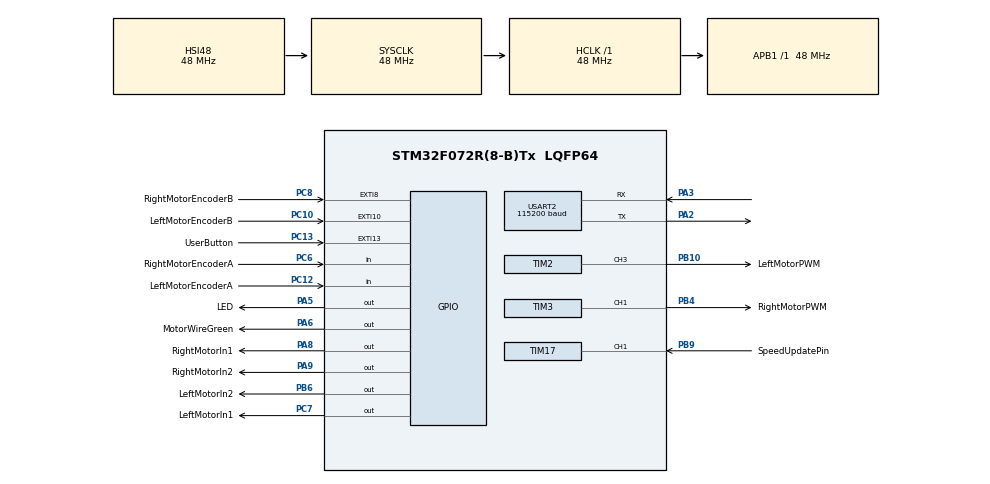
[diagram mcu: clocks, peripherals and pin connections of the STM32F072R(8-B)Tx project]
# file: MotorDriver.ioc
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Dma.Request0=TIM2_CH3
Dma.Request1=TIM3_CH1/TRIG
Dma.Request2=USART2_RX
Dma.TIM2_CH3.0.Direction=DMA_MEMORY_TO_PERIPH
Dma.TIM2_CH3.0.Instance=DMA1_Channel1
Dma.TIM2_CH3.0.MemDataAlignment=DMA_MDATAALIGN_WORD
Dma.TIM2_CH3.0.MemInc=DMA_MINC_DISABLE
Dma.TIM2_CH3.0.Mode=DMA_CIRCULAR
Dma.TIM2_CH3.0.PeriphDataAlignment=DMA_PDATAALIGN_WORD
Dma.TIM2_CH3.0.PeriphInc=DMA_PINC_DISABLE
Dma.TIM2_CH3.0.Priority=DMA_PRIORITY_VERY_HIGH
Dma.TIM3_CH1/TRIG.1.Direction=DMA_MEMORY_TO_PERIPH
Dma.TIM3_CH1/TRIG.1.Instance=DMA1_Channel4
Dma.TIM3_CH1/TRIG.1.MemDataAlignment=DMA_MDATAALIGN_WORD
Dma.TIM3_CH1/TRIG.1.MemInc=DMA_MINC_DISABLE
Dma.TIM3_CH1/TRIG.1.Mode=DMA_CIRCULAR
Dma.TIM3_CH1/TRIG.1.PeriphDataAlignment=DMA_PDATAALIGN_WORD
Dma.TIM3_CH1/TRIG.1.PeriphInc=DMA_PINC_DISABLE
Dma.TIM3_CH1/TRIG.1.Priority=DMA_PRIORITY_VERY_HIGH
Dma.USART2_RX.2.Direction=DMA_PERIPH_TO_MEMORY
Dma.USART2_RX.2.Instance=DMA1_Channel5
Dma.USART2_RX.2.MemDataAlignment=DMA_MDATAALIGN_BYTE
Dma.USART2_RX.2.MemInc=DMA_MINC_ENABLE
Dma.USART2_RX.2.Mode=DMA_NORMAL
Dma.USART2_RX.2.PeriphDataAlignment=DMA_PDATAALIGN_BYTE
Dma.USART2_RX.2.PeriphInc=DMA_PINC_DISABLE
Dma.USART2_RX.2.Priority=DMA_PRIORITY_LOW
Mcu.Family=STM32F0
Mcu.Name=STM32F072R(8-B)Tx
Mcu.Package=LQFP64
Mcu.UserConstants=TIM2_PRESCALER,0;TIM2_PERIOD,10000-1;TIM3_PERIOD,10000-1;TIM3_PRESCALER,0;TIM17_PRESCALER,1000-1;TIM17_PERIOD,480-1
NVIC.DMA1_Channel1_IRQn=true\:0\:0\:false\:false\:true\:false\:true
NVIC.DMA1_Channel4_5_6_7_IRQn=true\:0\:0\:false\:false\:true\:false\:true
NVIC.EXTI4_15_IRQn=true\:0\:0\:false\:false\:true\:true\:true
NVIC.TIM17_IRQn=true\:0\:0\:false\:false\:true\:true\:true
NVIC.TIM2_IRQn=true\:0\:0\:false\:false\:true\:true\:true
NVIC.TIM3_IRQn=true\:0\:0\:false\:false\:true\:true\:true
NVIC.USART2_IRQn=true\:0\:0\:false\:false\:true\:true\:true
PA13.Mode=Serial_Wire
PA13.Signal=SYS_SWDIO
PA14.Mode=Serial_Wire
PA14.Signal=SYS_SWCLK
PA2.GPIO_Mode=GPIO_MODE_AF_PP
PA2.GPIO_ModeDefaultPP=GPIO_MODE_AF_PP
PA2.GPIO_PuPd=GPIO_NOPULL
PA2.GPIO_Speed=GPIO_SPEED_FREQ_HIGH
PA2.Mode=Asynchronous
PA2.Signal=USART2_TX
PA3.GPIO_Mode=GPIO_MODE_AF_PP
PA3.GPIO_ModeDefaultPP=GPIO_MODE_AF_PP
PA3.GPIO_PuPd=GPIO_NOPULL
PA3.GPIO_Speed=GPIO_SPEED_FREQ_HIGH
PA3.Mode=Asynchronous
PA3.Signal=USART2_RX
PA5.GPIO_Label=LED
PA5.GPIO_Mode=GPIO_MODE_OUTPUT_PP
PA5.GPIO_ModeDefaultOutputPP=GPIO_MODE_OUTPUT_PP
PA5.GPIO_PuPd=GPIO_NOPULL
PA5.GPIO_Speed=GPIO_SPEED_FREQ_LOW
PA5.PinState=GPIO_PIN_RESET
PA5.Signal=GPIO_Output
PA6.GPIO_Label=MotorWireGreen
PA6.GPIO_ModeDefaultOutputPP=GPIO_MODE_OUTPUT_OD
PA6.GPIO_PuPd=GPIO_NOPULL
PA6.GPIO_Speed=GPIO_SPEED_FREQ_LOW
PA6.PinState=GPIO_PIN_RESET
PA6.Signal=GPIO_Output
PA8.GPIO_Label=RightMotorIn1
PA8.GPIO_ModeDefaultOutputPP=GPIO_MODE_OUTPUT_OD
PA8.Signal=GPIO_Output
PA9.GPIO_Label=RightMotorIn2
PA9.GPIO_ModeDefaultOutputPP=GPIO_MODE_OUTPUT_OD
PA9.Signal=GPIO_Output
PB10.GPIO_Label=LeftMotorPWM
PB10.GPIO_ModeDefaultPP=GPIO_MODE_AF_OD
PB10.GPIO_PuPd=GPIO_NOPULL
PB10.GPIO_Speed=GPIO_SPEED_FREQ_LOW
PB10.Signal=S_TIM2_CH3
PB4.GPIO_Label=RightMotorPWM
PB4.GPIO_ModeDefaultPP=GPIO_MODE_AF_OD
PB4.Signal=S_TIM3_CH1
PB6.GPIO_Label=LeftMotorIn2
PB6.GPIO_ModeDefaultOutputPP=GPIO_MODE_OUTPUT_OD
PB6.Signal=GPIO_Output
PB9.GPIO_Label=SpeedUpdatePin
PB9.Signal=S_TIM17_CH1
PC10.GPIO_Label=LeftMotorEncoderB
PC10.GPIO_ModeDefaultEXTI=GPIO_MODE_IT_RISING_FALLING
PC10.Signal=GPXTI10
PC12.GPIO_Label=LeftMotorEncoderA
PC12.Signal=GPIO_Input
PC13.GPIO_Label=UserButton
PC13.Signal=GPXTI13
PC14-OSC32_IN.Mode=LSE-External-Oscillator
PC14-OSC32_IN.Signal=RCC_OSC32_IN
PC15-OSC32_OUT.Mode=LSE-External-Oscillator
PC15-OSC32_OUT.Signal=RCC_OSC32_OUT
PC6.GPIO_Label=RightMotorEncoderA
PC6.Signal=GPIO_Input
PC7.GPIO_Label=LeftMotorIn1
PC7.GPIO_ModeDefaultOutputPP=GPIO_MODE_OUTPUT_OD
PC7.Signal=GPIO_Output
PC8.GPIO_Label=RightMotorEncoderB
PC8.GPIO_ModeDefaultEXTI=GPIO_MODE_IT_RISING_FALLING
PC8.Signal=GPXTI8
PF0-OSC_IN.Mode=HSE-External-Oscillator
PF0-OSC_IN.Signal=RCC_OSC_IN
PF1-OSC_OUT.Mode=HSE-External-Oscillator
PF1-OSC_OUT.Signal=RCC_OSC_OUT
ProjectManager.HeapSize=0x200
ProjectManager.StackSize=0x400
ProjectManager.TargetToolchain=STM32CubeIDE
RCC.AHBFreq_Value=48000000
RCC.APB1Freq_Value=48000000
RCC.APB1TimFreq_Value=48000000
RCC.FLatency-AdvancedSettings=FLASH_LATENCY_1
RCC.HCLKFreq_Value=48000000
RCC.PLLDivider=RCC_PREDIV_DIV2
RCC.PLLMUL=RCC_PLL_MUL12
RCC.PREFETCH_ENABLE-AdvancedSettings=1
RCC.SYSCLKFreq_VALUE=48000000
RCC.SYSCLKSource=RCC_SYSCLKSOURCE_HSI48
SH.S_TIM17_CH1.0=TIM17_CH1,Input_Capture1_from_TI1
SH.S_TIM2_CH3.0=TIM2_CH3,PWM Generation3 CH3
SH.S_TIM3_CH1.0=TIM3_CH1,PWM Generation1 CH1
TIM17.Channel=TIM_CHANNEL_1
TIM17.Period=TIM17_PERIOD
TIM17.Prescaler=TIM17_PRESCALER
TIM2.AutoReloadPreload=TIM_AUTORELOAD_PRELOAD_DISABLE
TIM2.Channel-PWM\ Generation3\ CH3=TIM_CHANNEL_3
TIM2.OCPolarity_3=TIM_OCPOLARITY_HIGH
TIM2.Period=TIM2_PERIOD
TIM2.Prescaler=TIM2_PRESCALER
TIM2.TIM_MasterOutputTrigger=TIM_TRGO_UPDATE
TIM3.AutoReloadPreload=TIM_AUTORELOAD_PRELOAD_DISABLE
TIM3.Channel-PWM\ Generation1\ CH1=TIM_CHANNEL_1
TIM3.Period=TIM3_PERIOD
TIM3.Prescaler=TIM3_PRESCALER
TIM3.TIM_MasterOutputTrigger=TIM_TRGO_UPDATE
USART2.BaudRate=115200
USART2.VirtualMode=VM_ASYNC
USART2.VirtualMode-Asynchronous=VM_ASYNC
VP_TIM17_VS_ClockSourceINT.Mode=Enable_Timer
VP_TIM2_VS_ClockSourceINT.Mode=Internal
VP_TIM3_VS_ClockSourceINT.Mode=Internal
board=NUCLEO-F072RB

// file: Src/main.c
/* USER CODE BEGIN Header */
/**
  ******************************************************************************
  * @file           : main.c
  * @brief          : Main program body
  ******************************************************************************
  * @attention
  *
  * <h2><center>&copy; Copyright (c) 2020 STMicroelectronics.
  * All rights reserved.</center></h2>
  *
  * This software component is licensed by ST under BSD 3-Clause license,
  * the "License"; You may not use this file except in compliance with the
  * License. You may obtain a copy of the License at:
  *                        opensource.org/licenses/BSD-3-Clause
  *
  ******************************************************************************
  */
/* USER CODE END Header */
#include "main.h"
#include "dma.h"
#include "tim.h"
#include "usart.h"
#include "gpio.h"

/* USER CODE BEGIN Includes */
#include <main/init.h>

#include <stdio.h>
/* USER CODE END Includes */

void SystemClock_Config(void);
/* USER CODE BEGIN PFP */

void HAL_GPIO_EXTI_Callback(uint16_t GPIO_Pin)
{
    onExtInterrupt(GPIO_Pin);
}

void HAL_TIM_PeriodElapsedCallback(TIM_HandleTypeDef *htim)
{
    onPeriodElapsedCallback(htim);
}

void HAL_UART_RxCpltCallback(UART_HandleTypeDef *huart)
{
    onRxCpltCallback(huart);
}
/* USER CODE END PFP */

int main(void)
{
  /* USER CODE BEGIN 1 */
    int fail = 0;
  /* USER CODE END 1 */

  /* MCU Configuration--------------------------------------------------------*/

  /* Reset of all peripherals, Initializes the Flash interface and the Systick. */
  HAL_Init();

  /* Configure the system clock */
  SystemClock_Config();

  /* Initialize all configured peripherals */
  MX_GPIO_Init();
  MX_DMA_Init();
  MX_USART2_UART_Init();
  MX_TIM2_Init();
  MX_TIM3_Init();
  MX_TIM17_Init();
  /* USER CODE BEGIN 2 */
    fail = init_MotorDriver();
    if(fail)
    {
        printf("Motor driver initialization failed!\r\n");
        return 1;
    }

    fail = init_Modules();
    if (fail)
    {
        printf("Peripheries initialization failed!\r\n");
        return 1;
    }

  /* USER CODE END 2 */

  /* Infinite loop */
  /* USER CODE BEGIN WHILE */
    onRun();
    /* USER CODE END WHILE */

}

void SystemClock_Config(void)
{
  RCC_OscInitTypeDef RCC_OscInitStruct = {0};
  RCC_ClkInitTypeDef RCC_ClkInitStruct = {0};
  RCC_PeriphCLKInitTypeDef PeriphClkInit = {0};

  /** Initializes the RCC Oscillators according to the specified parameters
  * in the RCC_OscInitTypeDef structure.
  */
  RCC_OscInitStruct.OscillatorType = RCC_OSCILLATORTYPE_HSI48;
  RCC_OscInitStruct.HSI48State = RCC_HSI48_ON;
  RCC_OscInitStruct.PLL.PLLState = RCC_PLL_NONE;
  if (HAL_RCC_OscConfig(&RCC_OscInitStruct) != HAL_OK)
  {
    Error_Handler();
  }
  /** Initializes the CPU, AHB and APB buses clocks
  */
  RCC_ClkInitStruct.ClockType = RCC_CLOCKTYPE_HCLK|RCC_CLOCKTYPE_SYSCLK
                              |RCC_CLOCKTYPE_PCLK1;
  RCC_ClkInitStruct.SYSCLKSource = RCC_SYSCLKSOURCE_HSI48;
  RCC_ClkInitStruct.AHBCLKDivider = RCC_SYSCLK_DIV1;
  RCC_ClkInitStruct.APB1CLKDivider = RCC_HCLK_DIV1;

  if (HAL_RCC_ClockConfig(&RCC_ClkInitStruct, FLASH_LATENCY_1) != HAL_OK)
  {
    Error_Handler();
  }
  PeriphClkInit.PeriphClockSelection = RCC_PERIPHCLK_USART2;
  PeriphClkInit.Usart2ClockSelection = RCC_USART2CLKSOURCE_PCLK1;
  if (HAL_RCCEx_PeriphCLKConfig(&PeriphClkInit) != HAL_OK)
  {
    Error_Handler();
  }
}

void Error_Handler(void)
{
}

/************************ (C) COPYRIGHT STMicroelectronics *****END OF FILE****/
